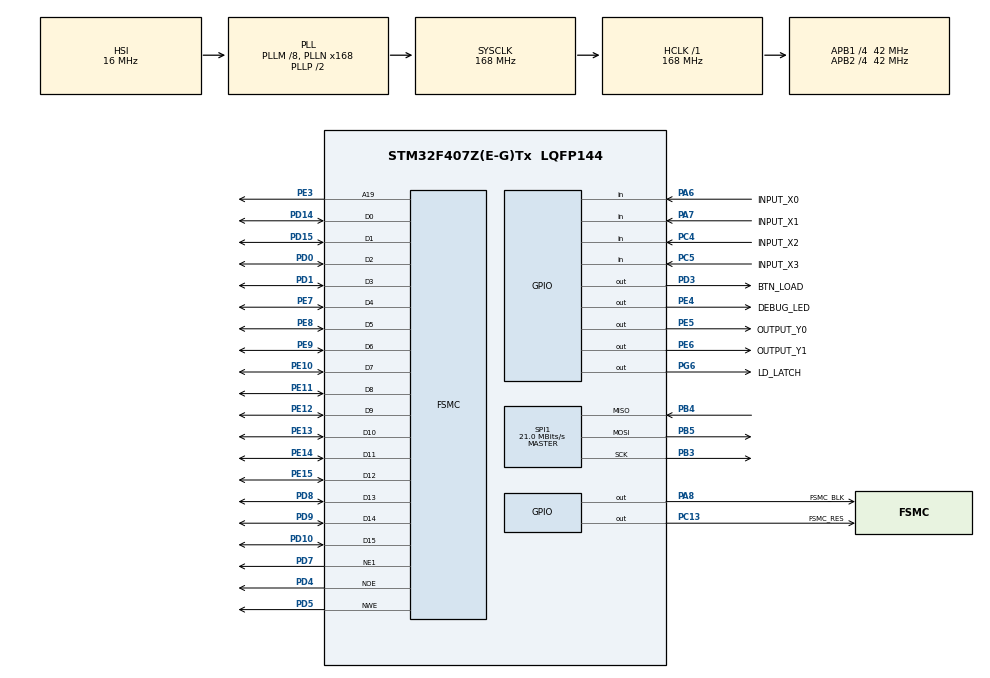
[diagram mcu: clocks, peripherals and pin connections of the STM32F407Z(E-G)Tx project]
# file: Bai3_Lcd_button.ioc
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FSMC.AddressSetupTime1=0xf
FSMC.BusTurnAroundDuration1=0
FSMC.DataSetupTime1=60
FSMC.ExtendedAddressSetupTime1=8
FSMC.ExtendedBusTurnAroundDuration1=0
FSMC.ExtendedDataSetupTime1=9
FSMC.ExtendedMode1=FSMC_EXTENDED_MODE_ENABLE
Mcu.Family=STM32F4
Mcu.Name=STM32F407Z(E-G)Tx
Mcu.Package=LQFP144
NVIC.PriorityGroup=NVIC_PRIORITYGROUP_4
NVIC.TIM2_IRQn=true\:0\:0\:false\:false\:true\:true\:true\:true
PA13.Mode=Serial_Wire
PA13.Signal=SYS_JTMS-SWDIO
PA14.Mode=Serial_Wire
PA14.Signal=SYS_JTCK-SWCLK
PA6.GPIO_Label=INPUT_X0
PA6.Signal=GPIO_Input
PA7.GPIO_Label=INPUT_X1
PA7.Signal=GPIO_Input
PA8.GPIO_Label=FSMC_BLK
PA8.Signal=GPIO_Output
PB3.Mode=Full_Duplex_Master
PB3.Signal=SPI1_SCK
PB4.Mode=Full_Duplex_Master
PB4.Signal=SPI1_MISO
PB5.Mode=Full_Duplex_Master
PB5.Signal=SPI1_MOSI
PC13-ANTI_TAMP.GPIO_Label=FSMC_RES
PC13-ANTI_TAMP.Signal=GPIO_Output
PC4.GPIO_Label=INPUT_X2
PC4.Signal=GPIO_Input
PC5.GPIO_Label=INPUT_X3
PC5.Signal=GPIO_Input
PD0.Signal=FSMC_D2_DA2
PD1.Signal=FSMC_D3_DA3
PD10.Signal=FSMC_D15_DA15
PD14.Signal=FSMC_D0_DA0
PD15.Signal=FSMC_D1_DA1
PD3.GPIO_Label=BTN_LOAD
PD3.Signal=GPIO_Output
PD4.Signal=FSMC_NOE
PD5.Signal=FSMC_NWE
PD7.Mode=NorPsramChipSelect1_1
PD7.Signal=FSMC_NE1
PD8.Signal=FSMC_D13_DA13
PD9.Signal=FSMC_D14_DA14
PE10.Signal=FSMC_D7_DA7
PE11.Signal=FSMC_D8_DA8
PE12.Signal=FSMC_D9_DA9
PE13.Signal=FSMC_D10_DA10
PE14.Signal=FSMC_D11_DA11
PE15.Signal=FSMC_D12_DA12
PE3.Signal=FSMC_A19
PE4.GPIO_Label=DEBUG_LED
PE4.Signal=GPIO_Output
PE5.GPIO_Label=OUTPUT_Y0
PE5.Signal=GPIO_Output
PE6.GPIO_Label=OUTPUT_Y1
PE6.Signal=GPIO_Output
PE7.Signal=FSMC_D4_DA4
PE8.Signal=FSMC_D5_DA5
PE9.Signal=FSMC_D6_DA6
PG6.GPIO_Label=LD_LATCH
PG6.Signal=GPIO_Output
PH0-OSC_IN.Mode=HSE-External-Oscillator
PH0-OSC_IN.Signal=RCC_OSC_IN
PH1-OSC_OUT.Mode=HSE-External-Oscillator
PH1-OSC_OUT.Signal=RCC_OSC_OUT
ProjectManager.HeapSize=0x200
ProjectManager.StackSize=0x400
ProjectManager.TargetToolchain=STM32CubeIDE
RCC.48MHZClocksFreq_Value=84000000
RCC.AHBFreq_Value=168000000
RCC.APB1CLKDivider=RCC_HCLK_DIV4
RCC.APB1Freq_Value=42000000
RCC.APB1TimFreq_Value=84000000
RCC.APB2CLKDivider=RCC_HCLK_DIV4
RCC.APB2Freq_Value=42000000
RCC.APB2TimFreq_Value=84000000
RCC.CortexFreq_Value=168000000
RCC.HCLKFreq_Value=168000000
RCC.HSE_VALUE=8000000
RCC.HSI_VALUE=16000000
RCC.LSE_VALUE=32768
RCC.PLLM=8
RCC.PLLN=168
RCC.SYSCLKFreq_VALUE=168000000
RCC.SYSCLKSource=RCC_SYSCLKSOURCE_PLLCLK
RCC.VCOOutputFreq_Value=336000000
SH.FSMC_A19.0=FSMC_A19,A19_1
SH.FSMC_D0_DA0.0=FSMC_D0,16b-d1
SH.FSMC_D10_DA10.0=FSMC_D10,16b-d1
SH.FSMC_D11_DA11.0=FSMC_D11,16b-d1
SH.FSMC_D12_DA12.0=FSMC_D12,16b-d1
SH.FSMC_D13_DA13.0=FSMC_D13,16b-d1
SH.FSMC_D14_DA14.0=FSMC_D14,16b-d1
SH.FSMC_D15_DA15.0=FSMC_D15,16b-d1
SH.FSMC_D1_DA1.0=FSMC_D1,16b-d1
SH.FSMC_D2_DA2.0=FSMC_D2,16b-d1
SH.FSMC_D3_DA3.0=FSMC_D3,16b-d1
SH.FSMC_D4_DA4.0=FSMC_D4,16b-d1
SH.FSMC_D5_DA5.0=FSMC_D5,16b-d1
SH.FSMC_D6_DA6.0=FSMC_D6,16b-d1
SH.FSMC_D7_DA7.0=FSMC_D7,16b-d1
SH.FSMC_D8_DA8.0=FSMC_D8,16b-d1
SH.FSMC_D9_DA9.0=FSMC_D9,16b-d1
SH.FSMC_NOE.0=FSMC_NOE,Lcd1
SH.FSMC_NWE.0=FSMC_NWE,Lcd1
SPI1.BaudRatePrescaler=SPI_BAUDRATEPRESCALER_2
SPI1.CalculateBaudRate=21.0 MBits/s
SPI1.Direction=SPI_DIRECTION_2LINES
SPI1.Mode=SPI_MODE_MASTER
SPI1.VirtualType=VM_MASTER
TIM2.Period=100-1
TIM2.Prescaler=840-1
VP_TIM2_VS_ClockSourceINT.Mode=Internal
board=custom

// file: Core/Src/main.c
/* USER CODE BEGIN Header */
/**
 ******************************************************************************
 * @file           : main.c
 * @brief          : Main program body
 ******************************************************************************
 * @attention
 *
 * Copyright (c) 2023 STMicroelectronics.
 * All rights reserved.
 *
 * This software is licensed under terms that can be found in the LICENSE file
 * in the root directory of this software component.
 * If no LICENSE file comes with this software, it is provided AS-IS.
 *
 ******************************************************************************
 */
/* USER CODE END Header */
#include "main.h"
#include "spi.h"
#include "tim.h"
#include "gpio.h"
#include "fsmc.h"

/* USER CODE BEGIN Includes */
#include "software_timer.h"
#include "button.h"
#include "lcd.h"
#include "led.h"
#include "fsm.h"
#include "picture.h"
/* USER CODE END Includes */

void SystemClock_Config(void);

/* USER CODE BEGIN 0 */
void init(void)
{
  HAL_TIM_Base_Start_IT(&htim2);
  set_timer(2, READ_BUTTON_TIME);
  set_timer(1, ONE_SECOND);
  button_init();
  lcd_init();
  lcd_Clear(WHITE);
  init_traffic_light();
}
/* USER CODE END 0 */

int main(void)
{

  /* MCU Configuration--------------------------------------------------------*/

  /* Reset of all peripherals, Initializes the Flash interface and the Systick. */
  HAL_Init();

  /* Configure the system clock */
  SystemClock_Config();

  /* Initialize all configured peripherals */
  MX_GPIO_Init();
  MX_SPI1_Init();
  MX_TIM2_Init();
  MX_FSMC_Init();
  /* USER CODE BEGIN 2 */
  init();
  box_rec(0, 0, 0, 240, 50, BLACK, BLACK, 0);
  box_rec(1, 0, 50, 240, 220, BLACK, RED, 0);
  box_rec(2, 0, 270, 240, 50, BLACK, BLUE, 0);
  lcd_ShowPicture(10, 0, 50, 50, gImage_logo_hcmut);
  lcd_ShowStr(60, 20, "Lab3_TRAFFIC", BLACK, WHITE, 24, 1);

  /* USER CODE END 2 */

  /* Infinite loop */
  /* USER CODE BEGIN WHILE */
  while (1)
  {
    // read button every READ_BUTTON_TIME
    if (!is_timer_on(2))
    {
      set_timer(2, READ_BUTTON_TIME);
      button_Scan();
    }

    traffic_run();
    /* USER CODE END WHILE */

  }
}

void SystemClock_Config(void)
{
  RCC_OscInitTypeDef RCC_OscInitStruct = {0};
  RCC_ClkInitTypeDef RCC_ClkInitStruct = {0};

  /** Configure the main internal regulator output voltage
   */
  __HAL_RCC_PWR_CLK_ENABLE();
  __HAL_PWR_VOLTAGESCALING_CONFIG(PWR_REGULATOR_VOLTAGE_SCALE1);

  /** Initializes the RCC Oscillators according to the specified parameters
   * in the RCC_OscInitTypeDef structure.
   */
  RCC_OscInitStruct.OscillatorType = RCC_OSCILLATORTYPE_HSI;
  RCC_OscInitStruct.HSIState = RCC_HSI_ON;
  RCC_OscInitStruct.HSICalibrationValue = RCC_HSICALIBRATION_DEFAULT;
  RCC_OscInitStruct.PLL.PLLState = RCC_PLL_ON;
  RCC_OscInitStruct.PLL.PLLSource = RCC_PLLSOURCE_HSI;
  RCC_OscInitStruct.PLL.PLLM = 8;
  RCC_OscInitStruct.PLL.PLLN = 168;
  RCC_OscInitStruct.PLL.PLLP = RCC_PLLP_DIV2;
  RCC_OscInitStruct.PLL.PLLQ = 4;
  if (HAL_RCC_OscConfig(&RCC_OscInitStruct) != HAL_OK)
  {
    Error_Handler();
  }

  /** Initializes the CPU, AHB and APB buses clocks
   */
  RCC_ClkInitStruct.ClockType = RCC_CLOCKTYPE_HCLK | RCC_CLOCKTYPE_SYSCLK | RCC_CLOCKTYPE_PCLK1 | RCC_CLOCKTYPE_PCLK2;
  RCC_ClkInitStruct.SYSCLKSource = RCC_SYSCLKSOURCE_PLLCLK;
  RCC_ClkInitStruct.AHBCLKDivider = RCC_SYSCLK_DIV1;
  RCC_ClkInitStruct.APB1CLKDivider = RCC_HCLK_DIV4;
  RCC_ClkInitStruct.APB2CLKDivider = RCC_HCLK_DIV4;

  if (HAL_RCC_ClockConfig(&RCC_ClkInitStruct, FLASH_LATENCY_5) != HAL_OK)
  {
    Error_Handler();
  }
}

void Error_Handler(void)
{
  __disable_irq();
  while (1)
  {
  }
}
